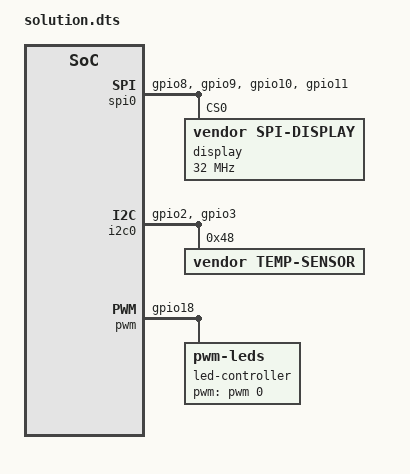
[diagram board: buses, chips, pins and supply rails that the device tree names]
/dts-v1/;

/ {
    compatible = "myboard";
    #address-cells = <2>;
    #size-cells = <1>;

    soc {
        #address-cells = <2>;
        #size-cells = <1>;
        ranges;

        pinctrl: pinctrl@7e200000 {
            compatible = "vendor,gpio-controller";
            reg = <0x0 0x7e200000 0x100>;
            gpio-controller;
            #gpio-cells = <2>;

            spi0_pins: spi0_pins {
                pins = "gpio8", "gpio9", "gpio10", "gpio11";
                function = "spi0";
                drive-strength = <8>;
                bias-pull-down;
                sleep-state = "gpio";
            };

            i2c0_pins: i2c0_pins {
                pins = "gpio2", "gpio3";
                function = "i2c0";
                drive-strength = <4>;
                bias-pull-up;
                sleep-state = "gpio";
            };

            pwm0_pin: pwm0_pin {
                pins = "gpio18";
                function = "pwm0";
                drive-strength = <2>;
                bias-disable;
                sleep-state = "gpio";
            };
        };

        spi0: spi@7e204000 {
            compatible = "vendor,spi-controller";
            reg = <0x0 0x7e204000 0x1000>;
            status = "okay";
            #address-cells = <1>;
            #size-cells = <0>;
            pinctrl-names = "default", "sleep";
            pinctrl-0 = <&spi0_pins>;

            display@0 {
                compatible = "vendor,spi-display";
                reg = <0>;
                spi-max-frequency = <32000000>;
                status = "okay";
            };
        };

        i2c0: i2c@7e205000 {
            compatible = "vendor,i2c-controller";
            reg = <0x0 0x7e205000 0x1000>;
            status = "okay";
            #address-cells = <1>;
            #size-cells = <0>;
            pinctrl-names = "default", "sleep";
            pinctrl-0 = <&i2c0_pins>;

            temp-sensor@48 {
                compatible = "vendor,temp-sensor";
                reg = <0x48>;
                status = "okay";
            };
        };

        pwm: pwm@7e20c000 {
            compatible = "vendor,pwm-controller";
            reg = <0x0 0x7e20c000 0x1000>;
            status = "okay";
            #pwm-cells = <2>;
            pinctrl-names = "default", "sleep";
            pinctrl-0 = <&pwm0_pin>;

            led-controller {
                compatible = "pwm-leds";
                pwms = <&pwm 0 1000000>;
                brightness-levels = <0 4 8 16 32 64 128 255>;
                default-brightness = <128>;
            };
        };
    };
};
